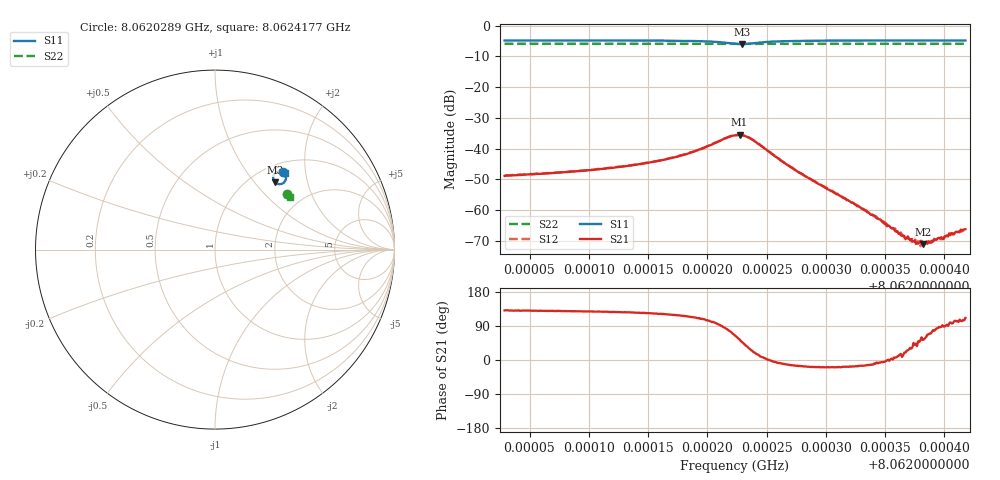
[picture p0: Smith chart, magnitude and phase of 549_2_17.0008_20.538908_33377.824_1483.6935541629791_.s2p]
#  HZ  S  RI  R  50.00
! Rohde & Schwarz Vector Network Analyzer
! Rohde-Schwarz,ZNB20-2Port,1311601062101988,3.16
! Created: UTC 3/20/2024, 11:16:43 PM
! freq[Hz]  re:S11  im:S11  re:S21  im:S21  re:S12  im:S12  re:S22  im:S22
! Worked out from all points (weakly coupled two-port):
!   401 points, 8.0620289 GHz to 8.0624177 GHz, reference 50 ohm
!   highest |S21| = -35.49 dB at 8.0622272 GHz (marker M1); lowest = -71.1 dB at 8.0623817 GHz (marker M2)
!   lowest |S11| = -6.0 dB at 8.0622292 GHz (marker M3), VSWR 3.02, Z = 64.1 + j64.3 ohm
!   |S11| at or under -10 dB: nowhere
!   |S22| runs from -5.9 to -5.9 dB; largest |S21 - S12| = 0.0011
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8.06202895e9  0.3788 0.4337  -0.00235 0.00271  -0.0022 0.00291  0.4038 0.3096
8.06209406e9  0.3847 0.428  -0.00271 0.00341  -0.00253 0.00363  0.4062 0.3062
8.06212711e9  0.3881 0.4236  -0.00301 0.0041  -0.00274 0.0043  0.4074 0.3047
8.06215918e9  0.3922 0.4164  -0.00333 0.0054  -0.00307 0.00563  0.4086 0.3026
8.06218736e9  0.3958 0.4032  -0.00346 0.00809  -0.00301 0.00836  0.4096 0.3006
8.06222332e9  0.3544 0.3649  0.00694 0.0149  0.00783 0.0147  0.4084 0.2979
8.06222721e9  0.3408 0.3701  0.00985 0.0136  0.0107 0.0129  0.408 0.2981
8.06222916e9  0.3349 0.3746  0.0111 0.0122  0.0119 0.0118  0.4078 0.2983
8.06223887e9  0.3244 0.4057  0.0128 0.00487  0.0131 0.00437  0.4081 0.2993
8.06226511e9  0.3534 0.4358  0.00572 -0.00109  0.0057 -0.00145  0.4107 0.2991
8.06228844e9  0.3675 0.4356  0.0029 -0.000957  0.00288 -0.00116  0.4121 0.2976
8.06233315e9  0.3791 0.4314  0.000949 -0.000246  0.000948 -0.000311  0.4139 0.2952
8.06235356e9  0.3821 0.4296  0.000553 -2.05e-05  0.000548 -5.48e-05  0.4147 0.2941
8.06236522e9  0.3837 0.4286  0.00037 8.61e-05  0.000385 6.9e-05  0.4152 0.2935
8.06237008e9  0.3842 0.4283  0.000306 0.000161  0.000312 0.00014  0.4154 0.2931
8.06237494e9  0.3848 0.4279  0.000243 0.000206  0.000274 0.000215  0.4158 0.2929
8.06237785e9  0.3851 0.4277  0.000185 0.000215  0.000239 0.0002  0.4156 0.2929
8.06238174e9  0.3856 0.4273  0.000169 0.000222  0.000207 0.000202  0.4158 0.2926
8.06238757e9  0.386 0.427  0.000102 0.00028  0.000109 0.000255  0.4159 0.2923
8.06239632e9  0.387 0.4263  2.07e-05 0.000343  4.93e-05 0.000328  0.4164 0.2918
8.06240604e9  0.388 0.4256  -4.95e-05 0.000414  -4.95e-05 0.000422  0.4166 0.2913
8.0624177e9  0.3891 0.4248  -0.000175 0.000458  -0.000121 0.00046  0.4171 0.2907
